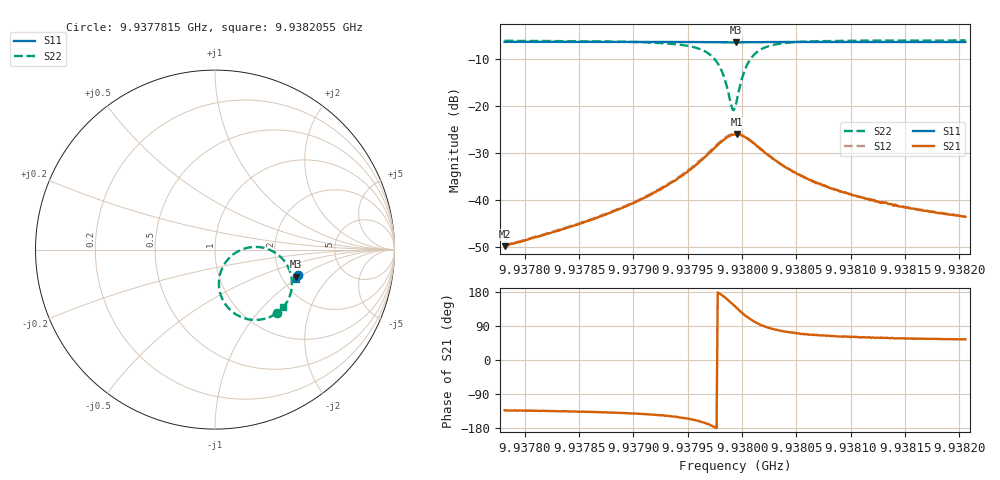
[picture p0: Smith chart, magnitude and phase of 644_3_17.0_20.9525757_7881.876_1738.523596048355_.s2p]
#  HZ  S  RI  R  50.00
! Rohde & Schwarz Vector Network Analyzer
! Rohde-Schwarz,ZNB20-2Port,1311601062101988,3.16
! Created: UTC 3/20/2024, 11:20:58 PM
! freq[Hz]  re:S11  im:S11  re:S21  im:S21  re:S12  im:S12  re:S22  im:S22
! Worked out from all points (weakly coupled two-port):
!   401 points, 9.9377815 GHz to 9.9382055 GHz, reference 50 ohm
!   highest |S21| = -26.01 dB at 9.9379956 GHz (marker M1); lowest = -49.8 dB at 9.9377815 GHz (marker M2)
!   lowest |S11| = -6.5 dB at 9.9379946 GHz (marker M3), VSWR 2.81, Z = 119 - j46.3 ohm
!   |S11| at or under -10 dB: nowhere
!   |S22| runs from -20.9 to -6.1 dB; largest |S21 - S12| = 0.0022
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9.9377815e9  0.4608 -0.1401  -0.00218 -0.00238  -0.00228 -0.00237  0.3428 -0.3547
9.93785252e9  0.4588 -0.1449  -0.00415 -0.00394  -0.00427 -0.00389  0.3214 -0.3678
9.93789492e9  0.4574 -0.1479  -0.00675 -0.00559  -0.00693 -0.00557  0.2959 -0.3794
9.93792354e9  0.4563 -0.15  -0.0105 -0.00727  -0.0108 -0.00724  0.2622 -0.3886
9.93795428e9  0.4544 -0.1525  -0.0203 -0.0085  -0.021 -0.00842  0.1795 -0.3869
9.93797124e9  0.4524 -0.1533  -0.0324 -0.00444  -0.0335 -0.00393  0.0846 -0.3357
9.93797972e9  0.451 -0.153  -0.0404 0.00387  -0.0415 0.00494  0.033 -0.2559
9.93798396e9  0.4505 -0.1526  -0.043 0.0109  -0.0442 0.0123  0.0219 -0.1939
9.93799032e9  0.4501 -0.1516  -0.0425 0.0245  -0.0427 0.0264  0.0496 -0.0853
9.93799244e9  0.4501 -0.1511  -0.0404 0.0289  -0.0404 0.0309  0.0737 -0.0523
9.9379935e9  0.4503 -0.1508  -0.0391 0.0309  -0.039 0.0331  0.0882 -0.038
9.93799456e9  0.4503 -0.1504  -0.0375 0.0329  -0.0372 0.0352  0.1044 -0.0245
9.93799562e9  0.4505 -0.1504  -0.036 0.0348  -0.0352 0.0368  0.1213 -0.0135
9.93799986e9  0.4512 -0.1499  -0.0276 0.0398  -0.0265 0.0417  0.1954 0.0129
9.9380041e9  0.452 -0.1498  -0.0192 0.0416  -0.0178 0.0429  0.266 0.0111
9.93800834e9  0.4529 -0.15  -0.0118 0.0404  -0.0105 0.0414  0.3227 -0.00977
9.9380147e9  0.4536 -0.1506  -0.00381 0.0364  -0.0027 0.037  0.3785 -0.0544
9.93803166e9  0.4544 -0.1528  0.00469 0.0256  0.0053 0.0254  0.4263 -0.1562
9.93806452e9  0.454 -0.1561  0.0063 0.0145  0.00671 0.0147  0.421 -0.2451
9.93809738e9  0.4532 -0.1588  0.0056 0.0103  0.00586 0.0102  0.4074 -0.2803
9.93813554e9  0.4522 -0.1616  0.00485 0.00764  0.00501 0.00765  0.3954 -0.3013
9.9382055e9  0.4501 -0.1662  0.00384 0.00539  0.00403 0.00541  0.3811 -0.321
